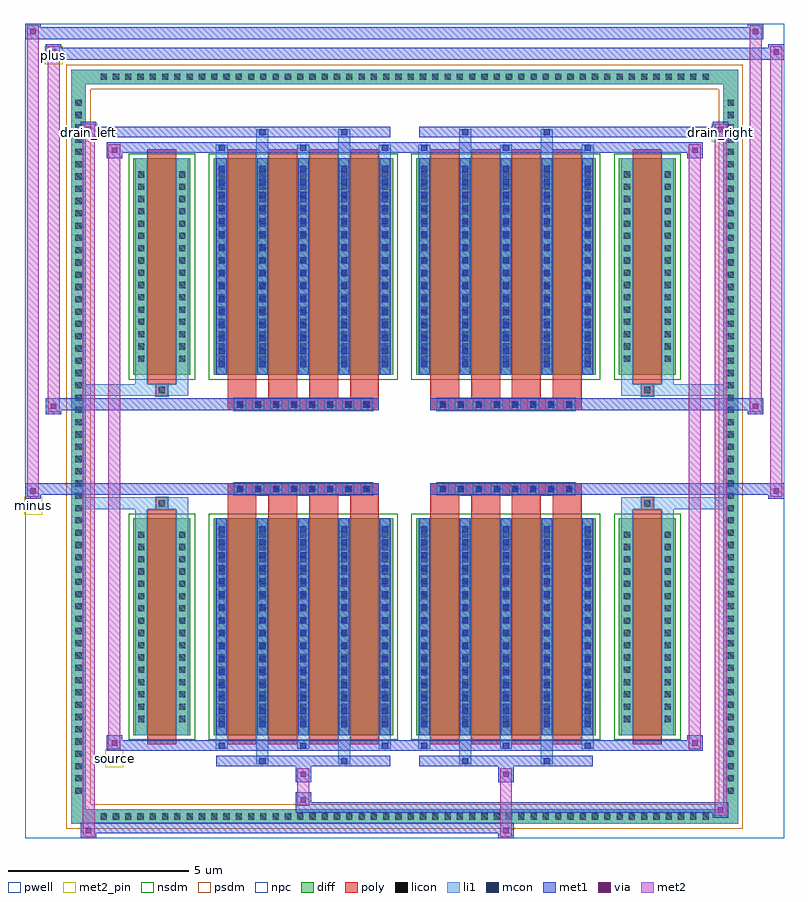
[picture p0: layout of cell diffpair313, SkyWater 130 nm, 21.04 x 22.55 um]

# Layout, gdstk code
import gdstk
lib = gdstk.Library(unit=1e-6, precision=5e-09)
def R(c, l, rs):  # rectangles x0, y0, x1, y1
    for r in rs: c.add(gdstk.rectangle(r[:2], r[2:], *l))
def A(c, l, x, y, w, h, nx, ny, dx, dy):  # array of equal rectangles
    R(c, l, [(x+i*dx, y+j*dy, x+i*dx+w, y+j*dy+h) for i in range(nx) for j in range(ny)])
def P(c, l, *ps):  # polygons
    for p in ps: c.add(gdstk.Polygon(p, *l))
pwell = (64, 44)
diff = (65, 20)
poly = (66, 20)
licon = (66, 44)
li1 = (67, 20)
mcon = (67, 44)
met1 = (68, 20)
via = (68, 44)
met2_pin = (69, 16)
met2 = (69, 20)
nsdm = (93, 44)
psdm = (94, 20)
npc = (95, 20)

diffpair313 = lib.new_cell('diffpair313')
R(diffpair313, pwell, [(-10.5,-10.84,10.5,11.71), (-7.82,-9.03,-0.01,-0.805), (0.01,-9.03,7.82,-0.805), (-7.82,0.805,-0.01,9.03), (0.01,0.805,7.82,9.03)])
A(diffpair313, diff, -8.535, -10.44, 0.41, 0.41, 50, 2, 0.34, 20.47)
A(diffpair313, diff, -9.23, -9.725, 0.41, 0.41, 1, 57, 0, 0.34)
A(diffpair313, diff, 8.82, -9.725, 0.41, 0.41, 1, 57, 0, 0.34)
R(diffpair313, diff, [(-8.535,-10.44,8.535,-10.03), (-9.23,-9.725,-8.82,9.725), (8.82,-9.725,9.23,9.725), (-7.51,-7.985,-5.93,-1.985), (-5.29,-7.985,-0.32,-1.985), (0.32,-7.985,5.29,-1.985), (5.93,-7.985,7.51,-1.985), (-7.51,1.985,-5.93,7.985), (-5.29,1.985,-0.32,7.985), (0.32,1.985,5.29,7.985), (5.93,1.985,7.51,7.985), (-8.535,10.03,8.535,10.44)])
P(diffpair313, diff, [(9.23,10.44),(-9.23,10.44),(-9.23,-10.03),(-8.82,-10.03),(-8.82,10.03),(8.82,10.03),(8.82,-10.03),(-8.82,-10.03),(-9.23,-10.03),(-9.23,-10.44),(9.23,-10.44)])
A(diffpair313, poly, -4.9, -8.235, 0.8, 6.5, 4, 2, 1.13, 9.97)
A(diffpair313, poly, 0.71, -8.235, 0.8, 6.5, 4, 2, 1.13, 9.97)
A(diffpair313, poly, -4.9, -1.735, 0.8, 0.4, 4, 2, 1.13, 3.07)
A(diffpair313, poly, 0.71, -1.735, 0.8, 0.4, 4, 2, 1.13, 3.07)
A(diffpair313, poly, -4.72, -1.335, 0.33, 0.33, 8, 2, 0.5, 2.34)
A(diffpair313, poly, 0.89, -1.335, 0.33, 0.33, 8, 2, 0.5, 2.34)
R(diffpair313, poly, [(-7.12,-8.235,-6.32,-1.735), (6.32,-8.235,7.12,-1.735), (-6.885,-1.735,-6.555,-1.405), (-6.885,-1.735,-6.555,-1.405), (6.555,-1.735,6.885,-1.405), (6.555,-1.735,6.885,-1.405), (-4.9,-1.335,-0.71,-1.005), (0.71,-1.335,4.9,-1.005), (-4.9,1.005,-0.71,1.335), (0.71,1.005,4.9,1.335), (-6.885,1.405,-6.555,1.735), (-6.885,1.405,-6.555,1.735), (6.555,1.405,6.885,1.735), (6.555,1.405,6.885,1.735), (-7.12,1.735,-6.32,8.235), (6.32,1.735,7.12,8.235)])
A(diffpair313, licon, -8.415, -10.32, 0.17, 0.17, 50, 2, 0.34, 20.47)
A(diffpair313, licon, -9.11, -9.605, 0.17, 0.17, 1, 57, 0, 0.34)
A(diffpair313, licon, 8.94, -9.605, 0.17, 0.17, 1, 57, 0, 0.34)
A(diffpair313, licon, -7.37, -7.62, 0.17, 0.17, 1, 16, 0, 0.34)
A(diffpair313, licon, -6.24, -7.62, 0.17, 0.17, 1, 16, 0, 0.34)
A(diffpair313, licon, -5.15, -7.62, 0.17, 0.17, 5, 16, 1.13, 0.34)
A(diffpair313, licon, 0.46, -7.62, 0.17, 0.17, 5, 16, 1.13, 0.34)
A(diffpair313, licon, 6.07, -7.62, 0.17, 0.17, 1, 16, 0, 0.34)
A(diffpair313, licon, 7.2, -7.62, 0.17, 0.17, 1, 16, 0, 0.34)
A(diffpair313, licon, -4.64, -1.255, 0.17, 0.17, 8, 2, 0.5, 2.34)
A(diffpair313, licon, 0.97, -1.255, 0.17, 0.17, 8, 2, 0.5, 2.34)
A(diffpair313, licon, -7.37, 2.35, 0.17, 0.17, 1, 16, 0, 0.34)
A(diffpair313, licon, -6.24, 2.35, 0.17, 0.17, 1, 16, 0, 0.34)
A(diffpair313, licon, -5.15, 2.35, 0.17, 0.17, 5, 16, 1.13, 0.34)
A(diffpair313, licon, 0.46, 2.35, 0.17, 0.17, 5, 16, 1.13, 0.34)
A(diffpair313, licon, 6.07, 2.35, 0.17, 0.17, 1, 16, 0, 0.34)
A(diffpair313, licon, 7.2, 2.35, 0.17, 0.17, 1, 16, 0, 0.34)
R(diffpair313, licon, [(-6.805,-1.655,-6.635,-1.485), (6.635,-1.655,6.805,-1.485), (-6.805,1.485,-6.635,1.655), (6.635,1.485,6.805,1.655)])
A(diffpair313, li1, -8.495, -10.4, 0.33, 0.33, 50, 2, 0.34, 20.47)
A(diffpair313, li1, -9.19, -9.685, 0.33, 0.33, 1, 57, 0, 0.34)
A(diffpair313, li1, 8.86, -9.685, 0.33, 0.33, 1, 57, 0, 0.34)
A(diffpair313, li1, -5.23, -8.36, 0.33, 0.375, 3, 2, 2.26, 16.345)
A(diffpair313, li1, -5.15, -8.36, 0.17, 0.17, 3, 2, 2.26, 16.55)
A(diffpair313, li1, 0.38, -8.36, 0.33, 0.375, 3, 2, 2.26, 16.345)
A(diffpair313, li1, 0.46, -8.36, 0.17, 0.17, 3, 2, 2.26, 16.55)
A(diffpair313, li1, -5.23, -7.985, 0.33, 6, 5, 2, 1.13, 9.97)
A(diffpair313, li1, 0.38, -7.985, 0.33, 6, 5, 2, 1.13, 9.97)
A(diffpair313, li1, -5.15, -7.77, 0.17, 0.17, 5, 16, 1.13, 0.36)
A(diffpair313, li1, -5.15, -7.77, 0.17, 5.57, 5, 2, 1.13, 9.97)
A(diffpair313, li1, 0.46, -7.77, 0.17, 0.17, 5, 16, 1.13, 0.36)
A(diffpair313, li1, 0.46, -7.77, 0.17, 5.57, 5, 2, 1.13, 9.97)
A(diffpair313, li1, -7.45, -7.7, 0.33, 0.33, 1, 16, 0, 0.34)
A(diffpair313, li1, -6.32, -7.7, 0.33, 0.33, 1, 16, 0, 0.34)
A(diffpair313, li1, -5.23, -7.7, 0.33, 0.33, 5, 16, 1.13, 0.34)
A(diffpair313, li1, 0.38, -7.7, 0.33, 0.33, 5, 16, 1.13, 0.34)
A(diffpair313, li1, 5.99, -7.7, 0.33, 0.33, 1, 16, 0, 0.34)
A(diffpair313, li1, 7.12, -7.7, 0.33, 0.33, 1, 16, 0, 0.34)
A(diffpair313, li1, -4.72, -1.335, 0.33, 0.33, 8, 2, 0.5, 2.34)
A(diffpair313, li1, 0.89, -1.335, 0.33, 0.33, 8, 2, 0.5, 2.34)
A(diffpair313, li1, -5.15, 2.2, 0.17, 0.17, 5, 16, 1.13, 0.36)
A(diffpair313, li1, 0.46, 2.2, 0.17, 0.17, 5, 16, 1.13, 0.36)
A(diffpair313, li1, -7.45, 2.27, 0.33, 0.33, 1, 16, 0, 0.34)
A(diffpair313, li1, -6.32, 2.27, 0.33, 0.33, 1, 16, 0, 0.34)
A(diffpair313, li1, -5.23, 2.27, 0.33, 0.33, 5, 16, 1.13, 0.34)
A(diffpair313, li1, 0.38, 2.27, 0.33, 0.33, 5, 16, 1.13, 0.34)
A(diffpair313, li1, 5.99, 2.27, 0.33, 0.33, 1, 16, 0, 0.34)
A(diffpair313, li1, 7.12, 2.27, 0.33, 0.33, 1, 16, 0, 0.34)
R(diffpair313, li1, [(-9.23,-10.44,-8.82,-10.03), (-9.23,-10.44,-8.82,-10.03), (-8.82,-10.44,8.82,-10.03), (8.82,-10.44,9.23,-10.03), (8.82,-10.44,9.23,-10.03), (-9.23,-10.03,-8.82,10.03), (8.82,-10.03,9.23,10.03), (-4.1,-8.79,-3.77,-7.985), (-4.02,-8.79,-3.85,-8.62), (-1.84,-8.79,-1.51,-7.985), (-1.76,-8.79,-1.59,-8.62), (1.51,-8.79,1.84,-7.985), (1.59,-8.79,1.76,-8.62), (3.77,-8.79,4.1,-7.985), (3.85,-8.79,4.02,-8.62), (-7.45,-7.985,-7.12,-1.985), (-6.32,-7.985,-5.99,-1.985), (5.99,-7.985,6.32,-1.985), (7.12,-7.985,7.45,-1.985), (-7.45,-1.985,-7.12,-1.405), (-6.32,-1.985,-5.99,-1.405), (5.99,-1.985,6.32,-1.405), (7.12,-1.985,7.45,-1.405), (-9.23,-1.735,-6.885,-1.405), (-7.45,-1.735,-6.885,-1.405), (-6.885,-1.735,-6.555,-1.405), (-6.555,-1.735,-5.99,-1.405), (5.99,-1.735,6.555,-1.405), (6.555,-1.735,6.885,-1.405), (6.555,-1.735,9.23,-1.405), (6.885,-1.735,7.45,-1.405), (-9.23,1.405,-6.885,1.735), (-7.45,1.405,-6.885,1.735), (-7.45,1.405,-7.12,1.985), (-6.885,1.405,-6.555,1.735), (-6.555,1.405,-5.99,1.735), (-6.32,1.405,-5.99,1.985), (5.99,1.405,6.555,1.735), (5.99,1.405,6.32,1.985), (6.555,1.405,6.885,1.735), (6.555,1.405,9.23,1.735), (6.885,1.405,7.45,1.735), (7.12,1.405,7.45,1.985), (-7.45,1.985,-7.12,7.985), (-6.32,1.985,-5.99,7.985), (5.99,1.985,6.32,7.985), (7.12,1.985,7.45,7.985), (-4.1,7.985,-3.77,8.79), (-1.84,7.985,-1.51,8.79), (1.51,7.985,1.84,8.79), (3.77,7.985,4.1,8.79), (-4.02,8.62,-3.85,8.79), (-1.76,8.62,-1.59,8.79), (1.59,8.62,1.76,8.79), (3.85,8.62,4.02,8.79), (-9.23,10.03,-8.82,10.44), (-9.23,10.03,-8.82,10.44), (-8.82,10.03,8.82,10.44), (8.82,10.03,9.23,10.44), (8.82,10.03,9.23,10.44)])
A(diffpair313, mcon, -5.15, -8.36, 0.17, 0.17, 3, 2, 2.26, 16.55)
A(diffpair313, mcon, 0.46, -8.36, 0.17, 0.17, 3, 2, 2.26, 16.55)
A(diffpair313, mcon, -5.15, -7.77, 0.17, 0.17, 5, 16, 1.13, 0.36)
A(diffpair313, mcon, 0.46, -7.77, 0.17, 0.17, 5, 16, 1.13, 0.36)
A(diffpair313, mcon, -4.64, -1.255, 0.17, 0.17, 8, 2, 0.5, 2.34)
A(diffpair313, mcon, 0.97, -1.255, 0.17, 0.17, 8, 2, 0.5, 2.34)
A(diffpair313, mcon, -5.15, 2.2, 0.17, 0.17, 5, 16, 1.13, 0.36)
A(diffpair313, mcon, 0.46, 2.2, 0.17, 0.17, 5, 16, 1.13, 0.36)
R(diffpair313, mcon, [(-4.02,-8.79,-3.85,-8.62), (-1.76,-8.79,-1.59,-8.62), (1.59,-8.79,1.76,-8.62), (3.85,-8.79,4.02,-8.62), (-4.02,8.62,-3.85,8.79), (-1.76,8.62,-1.59,8.79), (1.59,8.62,1.76,8.79), (3.85,8.62,4.02,8.79)])
A(diffpair313, met1, -5.21, -8.42, 0.29, 0.29, 3, 2, 2.26, 16.55)
A(diffpair313, met1, 0.4, -8.42, 0.29, 0.29, 3, 2, 2.26, 16.55)
A(diffpair313, met1, -5.21, -7.985, 0.29, 6, 5, 2, 1.13, 9.97)
A(diffpair313, met1, 0.4, -7.985, 0.29, 6, 5, 2, 1.13, 9.97)
A(diffpair313, met1, -5.21, -7.83, 0.29, 0.29, 5, 16, 1.13, 0.36)
A(diffpair313, met1, 0.4, -7.83, 0.29, 0.29, 5, 16, 1.13, 0.36)
A(diffpair313, met1, -4.7, -1.315, 0.29, 0.29, 8, 2, 0.5, 2.34)
A(diffpair313, met1, 0.91, -1.315, 0.29, 0.29, 8, 2, 0.5, 2.34)
A(diffpair313, met1, -5.21, 2.14, 0.29, 0.29, 5, 16, 1.13, 0.36)
A(diffpair313, met1, 0.4, 2.14, 0.29, 0.29, 5, 16, 1.13, 0.36)
R(diffpair313, met1, [(-8.96,-10.84,-8.53,-10.41), (2.59,-10.84,3.02,-10.41), (-8.96,-10.7,3.02,-10.41), (8.53,-10.27,8.96,-9.84), (-3.02,-10.13,8.96,-9.84), (-3.02,-9.99,-2.59,-9.56), (-3.02,-9.28,-2.59,-8.85), (2.59,-9.28,3.02,-8.85), (-5.21,-8.85,-0.4,-8.56), (-4.08,-8.85,-3.79,-8.56), (-1.82,-8.85,-1.53,-8.56), (0.4,-8.85,5.21,-8.56), (1.53,-8.85,1.82,-8.56), (3.79,-8.85,4.08,-8.56), (-8.25,-8.42,-7.82,-7.99), (-8.25,-8.42,-5.21,-8.13), (-5.21,-8.42,-0.4,-8.13), (-0.4,-8.42,0.4,-8.13), (0.4,-8.42,5.21,-8.13), (5.21,-8.42,8.25,-8.13), (7.82,-8.42,8.25,-7.99), (-10.5,-1.435,-10.07,-1.005), (10.07,-1.435,10.5,-1.005), (-10.5,-1.335,-0.71,-1.005), (-4.9,-1.335,-0.71,-1.005), (0.71,-1.335,4.9,-1.005), (0.71,-1.335,10.5,-1.005), (-9.93,0.905,-9.5,1.335), (9.5,0.905,9.93,1.335), (-9.93,1.005,-4.9,1.335), (-4.9,1.005,-0.71,1.335), (0.71,1.005,4.9,1.335), (4.9,1.005,9.93,1.335), (-8.25,7.99,-7.82,8.42), (7.82,7.99,8.25,8.42), (-8.25,8.13,-5.21,8.42), (-5.21,8.13,-0.4,8.42), (-0.4,8.13,0.4,8.42), (0.4,8.13,5.21,8.42), (5.21,8.13,8.25,8.42), (-8.96,8.56,-8.53,8.99), (-8.96,8.56,-5.21,8.85), (-5.21,8.56,-0.4,8.85), (-4.08,8.56,-3.79,8.85), (-1.82,8.56,-1.53,8.85), (0.4,8.56,5.21,8.85), (1.53,8.56,1.82,8.85), (3.79,8.56,4.08,8.85), (5.21,8.56,8.96,8.85), (8.53,8.56,8.96,8.99), (-9.93,10.71,-9.5,11.14), (-9.93,10.71,-7.82,11.04), (-7.82,10.71,7.82,11.04), (7.82,10.71,10.5,11.04), (10.07,10.71,10.5,11.14), (-10.5,11.28,-10.07,11.71), (-10.5,11.28,-7.82,11.61), (-7.82,11.28,7.82,11.61), (7.82,11.28,9.93,11.61), (9.5,11.28,9.93,11.71)])
R(diffpair313, via, [(-8.82,-10.7,-8.67,-10.55), (2.73,-10.7,2.88,-10.55), (8.67,-10.13,8.82,-9.98), (-2.88,-9.85,-2.73,-9.7), (-2.88,-9.14,-2.73,-8.99), (2.73,-9.14,2.88,-8.99), (-8.11,-8.28,-7.96,-8.13), (7.96,-8.28,8.11,-8.13), (-10.36,-1.295,-10.21,-1.145), (10.21,-1.295,10.36,-1.145), (-9.79,1.045,-9.64,1.195), (9.64,1.045,9.79,1.195), (-8.11,8.13,-7.96,8.28), (7.96,8.13,8.11,8.28), (-8.82,8.7,-8.67,8.85), (8.67,8.7,8.82,8.85), (-9.79,10.85,-9.64,11), (10.21,10.85,10.36,11), (-10.36,11.42,-10.21,11.57), (9.64,11.42,9.79,11.57)])
R(diffpair313, met2_pin, [(-8.285,-8.87,-7.785,-8.37), (-10.535,-1.885,-10.035,-1.385), (-8.995,8.44,-8.495,8.94), (8.495,8.44,8.995,8.94), (-9.965,10.59,-9.465,11.09)])
R(diffpair313, met2, [(-8.91,-10.79,-8.58,-10.46), (-8.91,-10.79,-8.58,8.94), (2.64,-10.79,2.97,-10.46), (2.64,-10.46,2.97,-9.23), (8.58,-10.22,8.91,-9.89), (8.58,-10.22,8.91,8.94), (-2.97,-9.94,-2.64,-9.61), (-2.97,-9.61,-2.64,-9.23), (-2.97,-9.23,-2.64,-8.9), (2.64,-9.23,2.97,-8.9), (-8.2,-8.37,-7.87,-8.04), (-8.2,-8.37,-7.87,8.37), (7.87,-8.37,8.2,-8.04), (7.87,-8.37,8.2,8.37), (-10.45,-1.385,-10.12,-1.055), (-10.45,-1.385,-10.12,11.66), (10.12,-1.385,10.45,-1.055), (10.12,-1.385,10.45,11.09), (-9.88,0.955,-9.55,1.285), (-9.88,0.955,-9.55,11.09), (9.55,0.955,9.88,1.285), (9.55,0.955,9.88,11.66), (-8.2,8.04,-7.87,8.37), (7.87,8.04,8.2,8.37), (-8.91,8.61,-8.58,8.94), (8.58,8.61,8.91,8.94), (-9.88,10.76,-9.55,11.09), (10.12,10.76,10.45,11.09), (-10.45,11.33,-10.12,11.66), (9.55,11.33,9.88,11.66)])
P(diffpair313, met2, [(10.45,-1.385),(10.45,-1.385),(10.45,-1.055),(10.45,-1.055)],
  [(10.45,10.76),(10.45,10.76),(10.45,11.09),(10.45,11.09)],
  [(-10.12,-1.385),(-10.12,-1.385),(-10.12,-1.055),(-10.12,-1.055)],
  [(-10.12,11.33),(-10.12,11.33),(-10.12,11.66),(-10.12,11.66)],
  [(9.88,0.955),(9.88,0.955),(9.88,1.285),(9.88,1.285)],
  [(9.88,11.33),(9.88,11.33),(9.88,11.66),(9.88,11.66)],
  [(-9.55,0.955),(-9.55,0.955),(-9.55,1.285),(-9.55,1.285)],
  [(-9.55,10.76),(-9.55,10.76),(-9.55,11.09),(-9.55,11.09)],
  [(-8.58,-10.79),(-8.58,-10.79),(-8.58,-10.46),(-8.58,-10.46)],
  [(-8.58,8.61),(-8.58,8.61),(-8.58,8.94),(-8.58,8.94)],
  [(8.91,-10.22),(8.91,-10.22),(8.91,-9.89),(8.91,-9.89)],
  [(8.91,8.61),(8.91,8.61),(8.91,8.94),(8.91,8.94)],
  [(-7.87,-8.37),(-7.87,-8.37),(-7.87,-8.04),(-7.87,-8.04)],
  [(-7.87,8.04),(-7.87,8.04),(-7.87,8.37),(-7.87,8.37)],
  [(8.2,-8.37),(8.2,-8.37),(8.2,-8.04),(8.2,-8.04)],
  [(8.2,8.04),(8.2,8.04),(8.2,8.37),(8.2,8.37)])
R(diffpair313, nsdm, [(-7.64,-8.115,-5.8,-1.855), (-5.42,-8.115,-0.19,-1.855), (0.19,-8.115,5.42,-1.855), (5.8,-8.115,7.64,-1.855), (-7.64,1.855,-5.8,8.115), (-5.42,1.855,-0.19,8.115), (0.19,1.855,5.42,8.115), (5.8,1.855,7.64,8.115)])
P(diffpair313, psdm, [(9.36,10.57),(-9.36,10.57),(-9.36,-9.9),(-8.69,-9.9),(-8.69,9.9),(8.69,9.9),(8.69,-9.9),(-8.69,-9.9),(-9.36,-9.9),(-9.36,-10.57),(9.36,-10.57)])
A(diffpair313, npc, -4.74, -1.355, 0.37, 0.37, 8, 2, 0.5, 2.34)
A(diffpair313, npc, 0.87, -1.355, 0.37, 0.37, 8, 2, 0.5, 2.34)
R(diffpair313, npc, [(-6.905,-1.755,-6.535,-1.385), (6.535,-1.755,6.905,-1.385), (-4.74,-1.355,-3.87,-0.985), (-4.74,-1.355,-3.87,-0.985), (-4.24,-1.355,-3.37,-0.985), (-4.24,-1.355,-3.37,-0.985), (-3.74,-1.355,-2.87,-0.985), (-3.74,-1.355,-2.87,-0.985), (-3.24,-1.355,-2.37,-0.985), (-3.24,-1.355,-2.37,-0.985), (-2.74,-1.355,-1.87,-0.985), (-2.74,-1.355,-1.87,-0.985), (-2.24,-1.355,-1.37,-0.985), (-2.24,-1.355,-1.37,-0.985), (-1.74,-1.355,-0.87,-0.985), (-1.74,-1.355,-0.87,-0.985), (0.87,-1.355,1.74,-0.985), (0.87,-1.355,1.74,-0.985), (1.37,-1.355,2.24,-0.985), (1.37,-1.355,2.24,-0.985), (1.87,-1.355,2.74,-0.985), (1.87,-1.355,2.74,-0.985), (2.37,-1.355,3.24,-0.985), (2.37,-1.355,3.24,-0.985), (2.87,-1.355,3.74,-0.985), (2.87,-1.355,3.74,-0.985), (3.37,-1.355,4.24,-0.985), (3.37,-1.355,4.24,-0.985), (3.87,-1.355,4.74,-0.985), (3.87,-1.355,4.74,-0.985), (-4.74,0.985,-3.87,1.355), (-4.74,0.985,-3.87,1.355), (-4.24,0.985,-3.37,1.355), (-4.24,0.985,-3.37,1.355), (-3.74,0.985,-2.87,1.355), (-3.74,0.985,-2.87,1.355), (-3.24,0.985,-2.37,1.355), (-3.24,0.985,-2.37,1.355), (-2.74,0.985,-1.87,1.355), (-2.74,0.985,-1.87,1.355), (-2.24,0.985,-1.37,1.355), (-2.24,0.985,-1.37,1.355), (-1.74,0.985,-0.87,1.355), (-1.74,0.985,-0.87,1.355), (0.87,0.985,1.74,1.355), (0.87,0.985,1.74,1.355), (1.37,0.985,2.24,1.355), (1.37,0.985,2.24,1.355), (1.87,0.985,2.74,1.355), (1.87,0.985,2.74,1.355), (2.37,0.985,3.24,1.355), (2.37,0.985,3.24,1.355), (2.87,0.985,3.74,1.355), (2.87,0.985,3.74,1.355), (3.37,0.985,4.24,1.355), (3.37,0.985,4.24,1.355), (3.87,0.985,4.74,1.355), (3.87,0.985,4.74,1.355), (-6.905,1.385,-6.535,1.755), (6.535,1.385,6.905,1.755)])
diffpair313.add(gdstk.Label('minus', (-10.285,-1.635), layer=69, texttype=5))
diffpair313.add(gdstk.Label('drain_right', (8.745,8.69), layer=69, texttype=5))
diffpair313.add(gdstk.Label('drain_left', (-8.745,8.69), layer=69, texttype=5))
diffpair313.add(gdstk.Label('source', (-8.035,-8.62), layer=69, texttype=5))
diffpair313.add(gdstk.Label('plus', (-9.715,10.84), layer=69, texttype=5))

lib.write_gds('diffpair313.gds')
